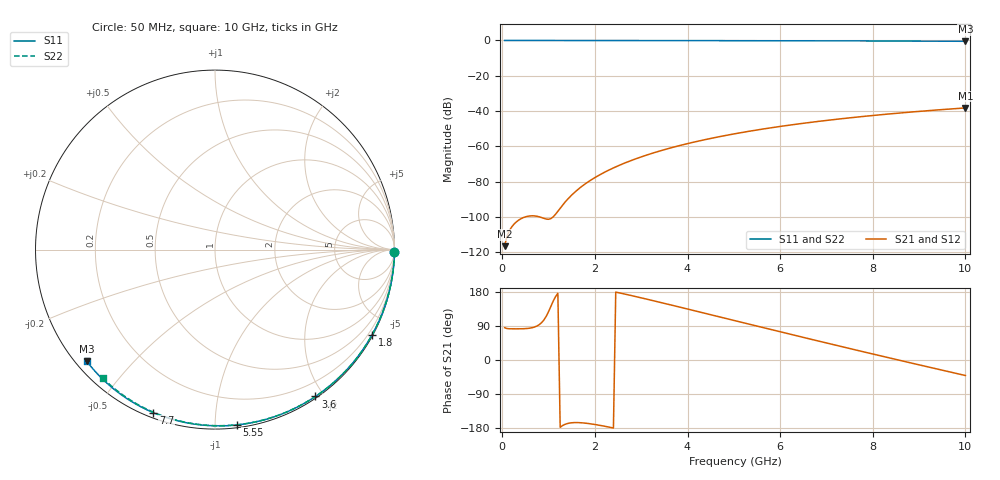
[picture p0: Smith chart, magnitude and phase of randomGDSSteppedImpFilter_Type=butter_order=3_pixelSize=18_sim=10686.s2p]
! freq	dB(S11)	phase(S11)	dB(S12)	phase(S12)
!  dB(S21)	phase(S21)	dB(S22)	phase(S22)
!S-par simulation data
#  GHz  S  DB  R 50
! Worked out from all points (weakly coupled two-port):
!   200 points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, 50 MHz to 10 GHz, reference 50 ohm
!   highest |S21| = -38.19 dB at 10 GHz (marker M1); lowest = -116.4 dB at 50 MHz (marker M2)
!   lowest |S11| = -0.5 dB at 10 GHz (marker M3), VSWR 37.06, Z = 1.54 - j18.7 ohm
!   |S11| at or under -10 dB: nowhere
!   |S22| runs from -0.4 to 0.0 dB; largest |S21 - S12| = 0
!   S11 on the Smith chart (normalised r, x): 50 MHz: open; 1.8 GHz: 0.03, -3.94; 3.6 GHz: 0.02, -1.90; 5.55 GHz: 0.02, -1.13; 7.7 GHz: 0.02, -0.69; 10 GHz: 0.03, -0.37
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0.05  -0.00 -0.8  -116.43 85.3  -116.43 85.3  -0.00 -0.8
0.45  -0.01 -7.2  -100.31 82.5  -100.31 82.5  -0.01 -6.8
0.9  -0.02 -14.4  -100.73 105.9  -100.73 105.9  -0.02 -13.6
1.75  -0.04 -27.7  -81.95 -166.1  -81.95 -166.1  -0.03 -26.1
1.8  -0.04 -28.5  -81.00 -166.7  -81.00 -166.7  -0.03 -26.9
1.85  -0.04 -29.3  -80.10 -167.5  -80.10 -167.5  -0.04 -27.6
2.15  -0.04 -33.9  -75.39 -173.4  -75.39 -173.4  -0.04 -32.0
2.35  -0.05 -36.9  -72.75 -178.2  -72.75 -178.2  -0.04 -34.9
2.55  -0.05 -40.0  -70.40 176.6  -70.40 176.6  -0.05 -37.8
2.95  -0.06 -46.0  -66.35 165.5  -66.35 165.5  -0.06 -43.5
3.4  -0.07 -52.7  -62.56 152.4  -62.56 152.4  -0.07 -49.8
3.6  -0.07 -55.6  -61.07 146.5  -61.07 146.5  -0.07 -52.6
3.9  -0.08 -60.0  -59.02 137.5  -59.02 137.5  -0.08 -56.7
4.3  -0.09 -65.7  -56.57 125.6  -56.57 125.6  -0.09 -62.1
5.05  -0.12 -76.2  -52.67 103.0  -52.67 103.0  -0.11 -72.0
5.55  -0.14 -83.0  -50.45 88.0  -50.45 88.0  -0.13 -78.5
6.1  -0.16 -90.3  -48.29 71.5  -48.29 71.5  -0.15 -85.5
6.7  -0.19 -98.1  -46.21 53.8  -46.21 53.8  -0.18 -92.9
7.7  -0.25 -110.8  -43.25 24.5  -43.25 24.5  -0.24 -104.8
8.35  -0.30 -118.8  -41.61 5.7  -41.61 5.7  -0.29 -112.4
9.2  -0.38 -129.2  -39.72 -18.4  -39.72 -18.4  -0.36 -122.1
10  -0.47 -138.9  -38.19 -40.9  -38.19 -40.9  -0.44 -131.2
